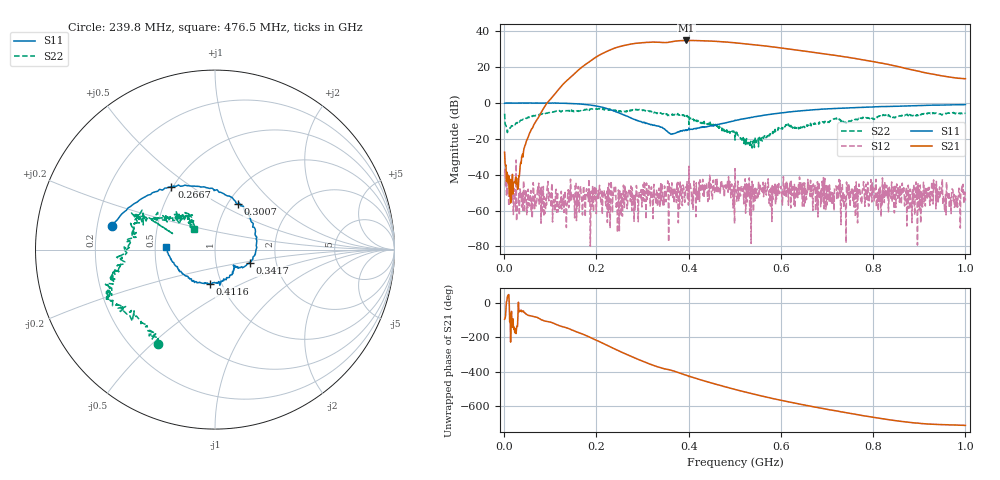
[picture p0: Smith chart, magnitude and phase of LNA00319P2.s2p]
! Created with skrf 1.9.0 (http://scikit-rf.org).
# Hz S RI R 50.0
!freq ReS11 ImS11 ReS21 ImS21 ReS12 ImS12 ReS22 ImS22
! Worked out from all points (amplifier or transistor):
!   1001 points, 1 MHz to 1 GHz, reference 50 ohm
!   highest |S21| = 34.9 dB at 394.6 MHz (marker M1)
!   |S21| within 3 dB of that: 256.6 MHz to 563.3 MHz (306.7 MHz wide, 74.8 % of centre)
!   unconditionally stable (mu >= 1): 303.9 MHz to 400.4 MHz; 400.8 MHz to 500.5 MHz; 500.6 MHz to end of sweep (the widest 3 of 25)
!   at 166.8 MHz: K = 2.05, MAG = 29.6 dB, |S12| = -51.2 dB
!   at 500.5 MHz: K = 0.97, MSG = 35.1 dB, |S12| = -36.6 dB
!   at 1 GHz: K = 7.27, MAG = 22.4 dB, |S12| = -54.4 dB
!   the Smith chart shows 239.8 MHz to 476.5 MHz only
!   S11 on the Smith chart (normalised r, x): 239.8 MHz: 0.26, +0.10; 266.7 MHz: 0.49, +0.42; 300.7 MHz: 1.11, +0.61; 341.7 MHz: 1.47, -0.23; 411.6 MHz: 0.88, -0.35; 476.5 MHz: 0.57, +0.02
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1000000  0.9782 0.0083  -0.00238 -0.0424  -0.0111 -0.0015  0.3649 0.3475
1.07893e8  0.521 -0.8489  -0.7736 -1.469  -0.000921 0.00116  0.4286 -0.3823
1.67833e8  -0.2501 -0.8947  -9.86 -0.3859  -0.00151 -0.00176  0.0306 -0.6356
2.08792e8  -0.6822 -0.3836  -15.27 16.45  -0.000484 0.00222  -0.2212 -0.6505
2.39761e8  -0.5736 0.1296  -1.498 33.92  -0.0032 -0.00153  -0.3187 -0.5275
2.66734e8  -0.2426 0.35  21.74 35.89  0.00086 0.000735  -0.4737 -0.3699
3.007e8  0.127 0.2539  45.03 16.67  -0.000195 -0.00197  -0.5752 -0.215
3.34666e8  0.2241 -0.0236  47.97 -11.58  0.00102 0.00198  -0.5315 -0.0543
3.41659e8  0.1961 -0.0736  46.04 -16.13  0.00294 0.00445  -0.5045 -0.0343
3.7063e8  0.1057 -0.0963  41.23 -33.24  -0.000343 0.00413  -0.4574 0.1479
3.94606e8  0.0587 -0.1664  26.69 -48.48  -0.00332 0.00326  -0.421 0.1889
4.11589e8  -0.0288 -0.1909  13.47 -53.17  0.0045 0.00493  -0.2716 0.1632
4.41559e8  -0.1665 -0.1455  -9.628 -52.96  0.000865 0.00156  -0.1703 0.1846
4.76524e8  -0.2724 0.0149  -30.32 -40.31  0.0041 -0.000287  -0.1187 0.1143
5.005e8  -0.291 0.1595  -38.85 -27.9  0.0144 0.00326  -0.0778 0.0494
5.39461e8  -0.1958 0.3551  -41.85 -6.938  0.00518 0.00122  -0.0853 0.00982
5.84416e8  0.00494 0.4998  -34.59 11.62  0.00476 -0.00137  -0.1405 -0.0646
6.25375e8  0.2049 0.5388  -23.04 20.49  0.0024 -0.00396  -0.1733 -0.1
6.67333e8  0.4061 0.4954  -11.3 23.34  0.00332 -0.00154  -0.2401 -0.0337
7.53247e8  0.6817 0.2754  4.957 17.32  -0.003 -0.00281  -0.3194 0.0394
8.34166e8  0.8004 0.013  9.206 7.333  -0.00172 -0.000947  -0.434 0.0657
1e9  0.727 -0.5339  4.729 0.4353  0.00102 0.00161  -0.2524 0.4365
